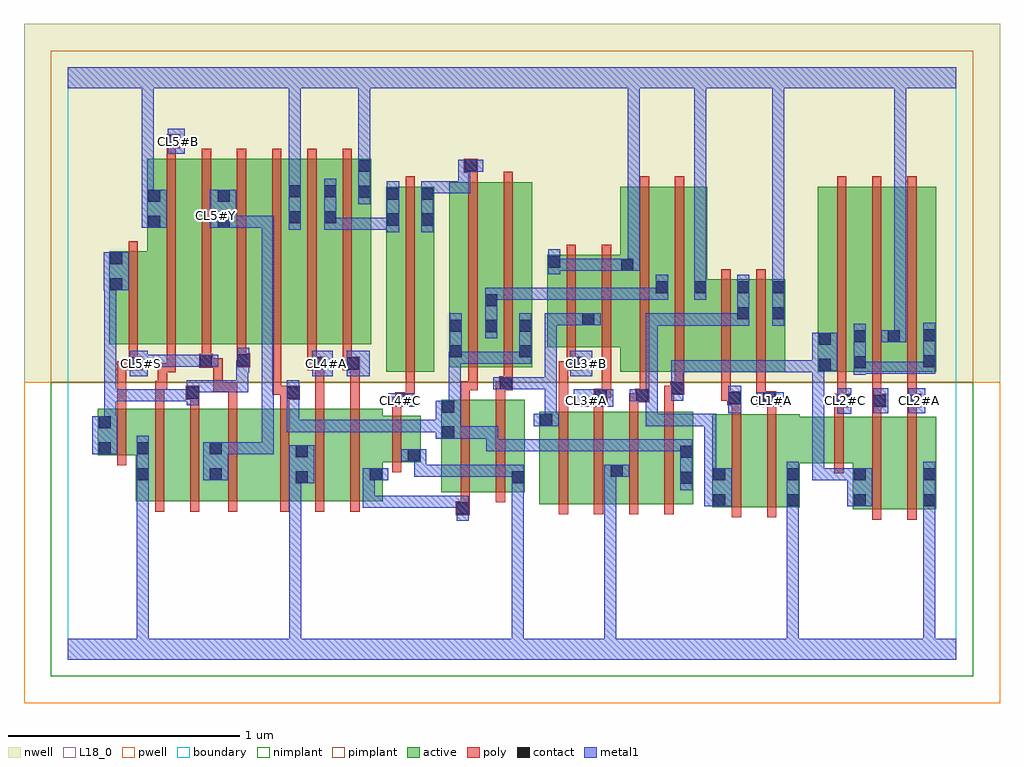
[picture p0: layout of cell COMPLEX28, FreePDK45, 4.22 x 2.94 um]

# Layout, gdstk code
import gdstk
lib = gdstk.Library(unit=1e-6, precision=1e-09)
def R(c, l, rs):  # rectangles x0, y0, x1, y1
    for r in rs: c.add(gdstk.rectangle(r[:2], r[2:], *l))
def A(c, l, x, y, w, h, nx, ny, dx, dy):  # array of equal rectangles
    R(c, l, [(x+i*dx, y+j*dy, x+i*dx+w, y+j*dy+h) for i in range(nx) for j in range(ny)])
active = (1, 0)
pwell = (2, 0)
nwell = (3, 0)
nimplant = (4, 0)
pimplant = (5, 0)
poly = (9, 0)
contact = (10, 0)
metal1 = (11, 0)
L18_0 = (18, 0)
boundary = (235, 0)

complex28 = lib.new_cell('COMPLEX28')
R(complex28, active, [(3.392,0.65,3.572,1.05), (3.392,0.65,3.452,0.982), (3.572,0.65,3.752,1.05), (3.692,0.65,3.752,1.05), (2.786,0.66,2.846,1.06), (2.786,0.66,2.966,1.06), (2.966,0.66,3.162,1.06), (3.102,0.66,3.162,0.872), (2.038,0.672,2.098,1.072), (2.038,0.672,2.218,1.072), (2.218,0.672,2.402,1.072), (2.342,0.672,2.522,1.072), (2.522,0.672,2.702,1.072), (2.642,0.672,2.702,1.072), (0.294,0.684,0.474,1.084), (0.474,0.684,0.67,1.084), (0.61,0.684,0.79,1.084), (0.61,0.684,0.67,1.026), (0.79,0.684,1.042,1.084), (0.982,0.684,1.166,1.084), (1.166,0.684,1.362,1.084), (1.302,0.684,1.362,0.854), (0.982,0.69,1.042,0.93), (1.614,0.724,1.674,1.124), (1.614,0.724,1.794,1.124), (1.794,0.724,1.974,1.124), (0.294,0.73,0.354,0.948), (1.914,0.756,1.974,0.818), (2.342,0.756,2.402,0.846), (3.102,0.85,3.452,1.05), (1.302,0.854,1.526,1.054), (1.466,0.854,1.526,1.054), (0.13,0.884,0.19,1.084), (0.13,0.884,0.354,1.084), (1.376,1.244,1.436,2.044), (1.376,1.244,1.584,2.044), (1.524,1.244,1.584,2.044), (2.388,1.244,2.598,2.044), (2.538,1.244,2.598,2.044), (2.538,1.244,2.764,2.044), (2.704,1.244,2.948,1.644), (2.704,1.244,2.764,1.918), (2.888,1.244,3.1,1.644), (3.04,1.244,3.1,1.644), (3.24,1.244,3.3,2.044), (3.24,1.244,3.452,2.044), (3.392,1.244,3.452,2.044), (3.392,1.244,3.6,2.044), (3.54,1.244,3.6,2.044), (3.54,1.244,3.752,2.044), (3.692,1.244,3.752,2.044), (1.648,1.264,1.86,2.064), (1.648,1.264,1.708,2.044), (1.8,1.264,2.008,2.064), (1.948,1.264,2.008,2.044), (2.072,1.35,2.28,1.75), (2.22,1.35,2.448,1.75), (2.22,1.35,2.28,1.644), (2.388,1.35,2.448,2.044), (0.18,1.364,0.24,1.764), (0.18,1.364,0.404,1.764), (0.344,1.364,0.524,2.164), (0.524,1.364,0.704,2.164), (0.644,1.364,0.828,2.164), (0.828,1.364,1.012,2.164), (0.952,1.364,1.012,2.164), (0.952,1.364,1.164,2.164), (1.104,1.364,1.164,2.164), (1.104,1.364,1.312,2.164), (1.252,1.364,1.312,2.164), (2.888,1.37,2.948,1.644), (0.344,1.382,0.404,2.034), (1.8,1.4,1.86,2.064), (0.644,1.686,0.704,2.044), (2.072,1.69,2.132,1.75)])
R(complex28, pwell, [(-0.188,-0.188,4.028,1.2)])
R(complex28, nwell, [(-0.188,1.2,4.028,2.748)])
R(complex28, nimplant, [(-0.072,-0.072,3.912,1.2)])
R(complex28, pimplant, [(-0.072,1.2,3.912,2.632)])
A(complex28, poly, 2.122, 0.628, 0.04, 0.488, 4, 1, 0.152, 0)
A(complex28, poly, 0.918, 0.64, 0.04, 0.488, 3, 1, 0.152, 0)
A(complex28, poly, 3.324, 1.11, 0.04, 0.13, 3, 1, 0.152, 0)
A(complex28, poly, 3.324, 1.2, 0.04, 0.888, 3, 1, 0.152, 0)
A(complex28, poly, 0.428, 1.32, 0.04, 0.888, 6, 1, 0.152, 0)
R(complex28, poly, [(3.476,0.606,3.516,1.094), (3.628,0.606,3.668,1.094), (2.87,0.616,2.91,1.104), (3.022,0.616,3.062,1.104), (1.678,0.624,1.738,0.684), (0.378,0.64,0.418,1.128), (0.53,0.64,0.57,1.128), (0.694,0.64,0.734,1.128), (1.698,0.644,1.738,0.72), (1.698,0.68,1.738,1.168), (1.85,0.68,1.89,1.168), (3.312,0.806,3.352,1.094), (1.402,0.81,1.442,1.098), (0.214,0.84,0.254,1.128), (3.312,1.054,3.352,1.13), (3.476,1.054,3.516,1.13), (3.628,1.054,3.668,1.13), (1.402,1.058,1.442,1.136), (2.87,1.064,2.91,1.14), (3.022,1.064,3.062,1.14), (2.122,1.076,2.162,1.29), (2.274,1.076,2.314,1.152), (2.426,1.076,2.466,1.152), (2.578,1.076,2.618,1.184), (0.214,1.088,0.254,1.29), (0.378,1.088,0.418,1.206), (0.53,1.088,0.57,1.164), (0.694,1.088,0.734,1.198), (0.918,1.088,0.958,1.164), (1.07,1.088,1.11,1.29), (1.222,1.088,1.262,1.29), (3.312,1.09,3.382,1.15), (3.476,1.09,3.536,1.15), (3.628,1.09,3.688,1.15), (1.402,1.096,1.456,1.136), (1.416,1.096,1.456,1.136), (1.416,1.096,1.5,1.156), (2.85,1.1,2.91,1.16), (3.002,1.1,3.062,1.16), (3.324,1.11,3.364,1.15), (3.324,1.11,3.364,1.15), (3.476,1.11,3.516,1.15), (3.476,1.11,3.516,1.15), (3.628,1.11,3.668,1.15), (3.628,1.11,3.668,1.15), (2.274,1.112,2.334,1.172), (2.426,1.112,2.492,1.152), (2.452,1.112,2.492,1.152), (2.452,1.112,2.512,1.172), (1.46,1.116,1.5,1.24), (2.824,1.12,2.864,1.24), (2.824,1.12,2.89,1.16), (2.85,1.12,2.89,1.16), (2.976,1.12,3.016,1.24), (2.976,1.12,3.042,1.16), (3.002,1.12,3.042,1.16), (0.51,1.124,0.57,1.184), (0.918,1.124,1.004,1.184), (1.698,1.128,1.738,1.204), (1.85,1.128,1.89,1.204), (2.294,1.132,2.334,1.172), (2.294,1.132,2.348,1.172), (2.308,1.132,2.348,1.346), (2.472,1.132,2.512,1.24), (0.884,1.144,0.958,1.184), (0.884,1.144,0.924,1.36), (0.918,1.144,0.958,1.184), (2.578,1.144,2.644,1.184), (2.604,1.144,2.644,1.184), (2.604,1.144,2.664,1.204), (0.63,1.158,0.67,1.198), (0.63,1.158,0.734,1.198), (0.63,1.158,0.67,1.302), (0.694,1.158,0.734,1.198), (1.698,1.164,1.738,1.204), (1.698,1.164,1.738,1.204), (1.698,1.164,1.772,1.204), (1.732,1.164,1.772,1.26), (1.85,1.164,1.904,1.204), (1.864,1.164,1.904,1.204), (1.864,1.164,1.924,1.224), (2.624,1.164,2.664,1.24), (0.378,1.166,0.43,1.206), (0.39,1.166,0.43,1.282), (1.884,1.184,1.924,1.26), (1.46,1.2,1.5,2.088), (2.472,1.2,2.512,2.088), (2.624,1.2,2.664,2.088), (2.824,1.2,2.864,1.688), (2.976,1.2,3.016,1.688), (1.732,1.22,1.772,2.108), (1.884,1.22,1.924,2.108), (0.39,1.242,0.468,1.282), (0.428,1.242,0.468,1.36), (0.214,1.25,0.304,1.29), (0.264,1.25,0.304,1.29), (0.264,1.25,0.324,1.31), (1.036,1.25,1.114,1.31), (1.07,1.25,1.11,1.29), (1.07,1.25,1.11,1.29), (1.188,1.25,1.262,1.31), (1.222,1.25,1.262,1.29), (1.222,1.25,1.262,1.29), (2.122,1.25,2.196,1.29), (2.156,1.25,2.196,1.29), (2.156,1.25,2.228,1.31), (0.568,1.262,0.628,1.322), (0.588,1.262,0.67,1.302), (0.63,1.262,0.67,1.302), (0.73,1.264,0.79,1.324), (0.264,1.27,0.304,1.36), (1.036,1.27,1.076,1.36), (1.188,1.27,1.228,1.36), (2.156,1.27,2.196,1.346), (0.58,1.282,0.62,1.36), (0.732,1.284,0.772,1.36), (2.156,1.306,2.196,1.794), (2.308,1.306,2.348,1.794), (0.264,1.32,0.304,1.808), (1.732,2.068,1.772,2.144), (1.712,2.104,1.772,2.164), (0.428,2.168,0.468,2.25), (0.428,2.21,0.488,2.27)])
R(complex28, contact, [(1.682,0.628,1.734,0.68), (2.79,0.664,2.842,0.716), (3.106,0.664,3.158,0.716), (3.396,0.664,3.448,0.716), (3.696,0.664,3.748,0.716), (2.646,0.76,2.698,0.812), (0.986,0.762,1.038,0.814), (1.918,0.762,1.97,0.814), (0.298,0.776,0.35,0.828), (0.614,0.776,0.666,0.828), (1.306,0.776,1.358,0.828), (2.79,0.776,2.842,0.828), (3.106,0.776,3.158,0.828), (3.396,0.776,3.448,0.828), (3.696,0.776,3.748,0.828), (2.346,0.79,2.398,0.842), (1.47,0.858,1.522,0.91), (2.646,0.872,2.698,0.924), (0.986,0.874,1.038,0.926), (0.134,0.888,0.186,0.94), (0.298,0.888,0.35,0.94), (0.614,0.888,0.666,0.94), (1.618,0.956,1.67,1.008), (0.134,1,0.186,1.052), (2.042,1.01,2.094,1.062), (1.618,1.068,1.67,1.12), (3.326,1.094,3.378,1.146), (3.48,1.094,3.532,1.146), (3.632,1.094,3.684,1.146), (1.42,1.1,1.472,1.152), (2.854,1.104,2.906,1.156), (3.006,1.104,3.058,1.156), (2.278,1.116,2.33,1.168), (2.456,1.116,2.508,1.168), (0.514,1.128,0.566,1.18), (0.948,1.128,1,1.18), (2.608,1.148,2.66,1.2), (1.868,1.168,1.92,1.22), (3.244,1.248,3.296,1.3), (0.268,1.254,0.32,1.306), (1.058,1.254,1.11,1.306), (1.206,1.254,1.258,1.306), (2.172,1.254,2.224,1.306), (3.396,1.26,3.448,1.312), (3.696,1.264,3.748,1.316), (0.572,1.266,0.624,1.318), (0.734,1.268,0.786,1.32), (1.652,1.306,1.704,1.358), (1.952,1.306,2.004,1.358), (3.244,1.36,3.296,1.412), (3.396,1.372,3.448,1.424), (3.544,1.372,3.596,1.424), (3.696,1.376,3.748,1.428), (1.804,1.416,1.856,1.468), (1.652,1.418,1.704,1.47), (1.952,1.418,2.004,1.47), (2.224,1.446,2.276,1.498), (2.892,1.472,2.944,1.524), (3.044,1.472,3.096,1.524), (1.804,1.528,1.856,1.58), (2.542,1.584,2.594,1.636), (2.708,1.584,2.76,1.636), (2.892,1.584,2.944,1.636), (3.044,1.584,3.096,1.636), (0.184,1.596,0.236,1.648), (2.392,1.68,2.444,1.732), (2.076,1.694,2.128,1.746), (0.184,1.708,0.236,1.76), (0.348,1.866,0.4,1.918), (0.648,1.866,0.7,1.918), (1.38,1.876,1.432,1.928), (1.528,1.876,1.58,1.928), (0.956,1.886,1.008,1.938), (1.108,1.886,1.16,1.938), (0.348,1.978,0.4,2.03), (0.648,1.978,0.7,2.03), (1.38,1.988,1.432,2.04), (1.528,1.988,1.58,2.04), (1.256,1.996,1.308,2.048), (0.956,1.998,1.008,2.05), (1.108,1.998,1.16,2.05), (1.256,2.108,1.308,2.16), (1.716,2.108,1.768,2.16), (0.432,2.214,0.484,2.266)])
A(complex28, metal1, 1.218, 0.984, 0.052, 0.052, 3, 1, 0.11, 0)
R(complex28, metal1, [(0,0,3.84,0.092), (0.298,0.04,0.35,0.092), (0.298,0.04,0.35,0.092), (0.298,0.04,0.35,0.092), (0.298,0.04,0.35,0.092), (0.298,0.04,0.35,0.092), (0.298,0.04,0.35,0.092), (0.298,0.04,0.35,0.092), (0.298,0.04,0.35,0.092), (0.298,0.04,0.35,0.8), (0.958,0.04,1.01,0.092), (0.958,0.04,1.01,0.092), (0.958,0.04,1.01,0.092), (0.958,0.04,1.01,0.092), (0.958,0.04,1.01,0.092), (0.958,0.04,1.01,0.092), (0.958,0.04,1.01,0.092), (0.958,0.04,1.01,0.092), (0.958,0.04,1.01,0.092), (0.958,0.04,1.01,0.092), (0.958,0.04,1.01,0.092), (0.958,0.04,1.01,0.092), (0.958,0.04,1.01,0.814), (1.918,0.04,1.97,0.092), (1.918,0.04,1.97,0.092), (1.918,0.04,1.97,0.786), (2.318,0.04,2.37,0.092), (2.318,0.04,2.37,0.092), (2.318,0.04,2.37,0.092), (2.318,0.04,2.37,0.092), (2.318,0.04,2.37,0.092), (2.318,0.04,2.37,0.092), (2.318,0.04,2.37,0.092), (2.318,0.04,2.37,0.092), (2.318,0.04,2.37,0.092), (2.318,0.04,2.37,0.092), (2.318,0.04,2.37,0.092), (2.318,0.04,2.37,0.092), (2.318,0.04,2.37,0.842), (3.106,0.04,3.158,0.092), (3.106,0.04,3.158,0.092), (3.106,0.04,3.158,0.092), (3.106,0.04,3.158,0.092), (3.106,0.04,3.158,0.092), (3.106,0.04,3.158,0.092), (3.106,0.04,3.158,0.688), (3.696,0.04,3.748,0.688), (1.682,0.6,1.734,0.708), (3.106,0.636,3.158,0.688), (3.106,0.636,3.158,0.688), (3.106,0.636,3.158,0.688), (3.106,0.636,3.158,0.688), (3.106,0.636,3.158,0.688), (3.106,0.636,3.158,0.688), (3.106,0.636,3.158,0.856), (3.696,0.636,3.748,0.688), (3.696,0.636,3.748,0.688), (3.696,0.636,3.748,0.688), (3.696,0.636,3.748,0.688), (3.696,0.636,3.748,0.688), (3.696,0.636,3.748,0.688), (3.696,0.636,3.748,0.688), (3.696,0.636,3.748,0.688), (3.696,0.636,3.748,0.688), (3.696,0.636,3.748,0.688), (3.696,0.636,3.748,0.688), (3.696,0.636,3.748,0.688), (3.696,0.636,3.748,0.856), (1.276,0.656,1.328,0.708), (1.276,0.656,1.38,0.708), (1.276,0.656,1.328,0.828), (1.328,0.656,1.38,0.708), (1.328,0.656,1.49,0.708), (1.438,0.656,1.49,0.708), (1.438,0.656,1.49,0.708), (1.438,0.656,1.49,0.708), (1.438,0.656,1.734,0.708), (1.682,0.656,1.734,0.708), (1.682,0.656,1.734,0.708), (2.75,0.664,2.87,0.828), (3.368,0.664,3.476,0.828), (2.646,0.732,2.698,0.952), (1.918,0.734,1.97,0.786), (1.918,0.734,1.97,0.786), (1.918,0.734,1.97,0.786), (1.918,0.734,1.97,0.786), (1.918,0.734,1.97,0.786), (1.918,0.734,1.97,0.786), (1.918,0.734,1.97,0.786), (1.918,0.734,1.97,0.786), (1.918,0.734,1.97,0.786), (1.918,0.734,1.97,0.786), (1.918,0.734,1.97,0.842), (0.298,0.748,0.35,0.8), (0.298,0.748,0.35,0.8), (0.298,0.748,0.35,0.8), (0.298,0.748,0.35,0.8), (0.298,0.748,0.35,0.968), (0.958,0.762,1.066,0.926), (0.586,0.776,0.694,0.94), (1.276,0.776,1.386,0.828), (2.75,0.776,2.802,1.062), (3.216,0.776,3.268,0.828), (3.216,0.776,3.268,0.828), (3.216,0.776,3.268,0.828), (3.216,0.776,3.42,0.828), (3.216,0.776,3.268,1.294), (3.368,0.776,3.42,0.828), (3.368,0.776,3.42,0.828), (1.498,0.79,1.55,0.842), (1.498,0.79,1.55,0.842), (1.498,0.79,1.55,0.842), (1.498,0.79,1.69,0.842), (1.498,0.79,1.55,0.91), (1.638,0.79,1.69,0.842), (1.638,0.79,1.69,0.842), (1.638,0.79,1.69,0.842), (1.638,0.79,1.86,0.842), (1.808,0.79,1.86,0.842), (1.808,0.79,1.86,0.842), (1.808,0.79,1.86,0.842), (1.808,0.79,1.97,0.842), (2.318,0.79,2.426,0.842), (1.442,0.858,1.55,0.91), (0.106,0.888,0.214,1.052), (0.642,0.888,0.89,0.94), (0.838,0.888,0.89,0.94), (0.838,0.888,0.89,0.94), (0.838,0.888,0.89,0.94), (0.838,0.888,0.89,0.94), (0.838,0.888,0.89,0.94), (0.838,0.888,0.89,1.918), (1.808,0.9,1.86,0.952), (1.808,0.9,1.86,0.952), (1.808,0.9,1.86,0.952), (1.808,0.9,1.86,1.008), (1.808,0.9,2.004,0.952), (1.952,0.9,2.004,0.952), (1.952,0.9,2.114,0.952), (2.062,0.9,2.114,0.952), (2.062,0.9,2.114,0.952), (2.062,0.9,2.114,0.952), (2.062,0.9,2.238,0.952), (2.186,0.9,2.238,0.952), (2.186,0.9,2.238,0.952), (2.186,0.9,2.238,0.952), (2.186,0.9,2.238,0.952), (2.186,0.9,2.238,0.952), (2.186,0.9,2.44,0.952), (2.388,0.9,2.44,0.952), (2.388,0.9,2.44,0.952), (2.388,0.9,2.44,0.952), (2.388,0.9,2.55,0.952), (2.498,0.9,2.55,0.952), (2.498,0.9,2.646,0.952), (2.594,0.9,2.646,0.952), (2.594,0.9,2.698,0.952), (1.59,0.956,1.698,1.12), (1.646,0.956,1.698,1.008), (1.646,0.956,1.698,1.008), (1.646,0.956,1.86,1.008), (1.808,0.956,1.86,1.008), (0.948,0.984,1,1.036), (0.948,0.984,1.11,1.036), (0.948,0.984,1,1.152), (1.058,0.984,1.11,1.036), (1.058,0.984,1.11,1.036), (1.058,0.984,1.11,1.036), (1.058,0.984,1.27,1.036), (1.218,0.984,1.27,1.036), (1.218,0.984,1.27,1.036), (1.218,0.984,1.38,1.036), (1.328,0.984,1.49,1.036), (1.438,0.984,1.49,1.036), (1.438,0.984,1.49,1.036), (1.438,0.984,1.642,1.036), (0.158,1,0.21,1.168), (2.014,1.01,2.122,1.062), (2.062,1.01,2.114,1.062), (2.062,1.01,2.114,1.062), (2.062,1.01,2.114,1.22), (2.498,1.01,2.55,1.062), (2.498,1.01,2.692,1.062), (2.498,1.01,2.55,1.168), (2.64,1.01,2.692,1.062), (2.64,1.01,2.692,1.062), (2.64,1.01,2.692,1.062), (2.64,1.01,2.802,1.062), (2.75,1.01,2.802,1.062), (3.326,1.062,3.386,1.174), (2.854,1.066,2.91,1.184), (3.48,1.066,3.546,1.174), (3.632,1.066,3.706,1.174), (1.646,1.068,1.698,1.33), (1.386,1.094,1.5,1.152), (2.186,1.094,2.358,1.168), (2.978,1.094,3.094,1.156), (0.514,1.1,0.566,1.208), (0.948,1.1,1,1.152), (0.948,1.1,1,1.152), (0.948,1.1,1,1.208), (0.158,1.116,0.21,1.168), (0.158,1.116,0.21,1.168), (0.158,1.116,0.21,1.168), (0.158,1.116,0.21,1.168), (0.158,1.116,0.21,1.168), (0.158,1.116,0.374,1.168), (0.158,1.116,0.21,1.648), (0.322,1.116,0.374,1.168), (0.322,1.116,0.456,1.168), (0.404,1.116,0.456,1.168), (0.404,1.116,0.528,1.168), (0.476,1.116,0.528,1.168), (0.476,1.116,0.566,1.168), (2.428,1.116,2.536,1.168), (2.484,1.116,2.55,1.168), (2.498,1.116,2.55,1.168), (2.498,1.116,2.55,1.496), (2.608,1.12,2.66,1.228), (0.514,1.156,0.78,1.208), (0.728,1.156,0.78,1.208), (0.728,1.156,0.78,1.292), (1.84,1.168,1.948,1.22), (1.896,1.168,2.004,1.22), (1.952,1.168,2.004,1.22), (1.952,1.168,2.114,1.22), (2.062,1.168,2.114,1.22), (2.062,1.168,2.114,1.498), (2.608,1.176,2.66,1.228), (2.608,1.176,2.66,1.294), (0.268,1.226,0.346,1.334), (1.058,1.226,1.146,1.334), (1.206,1.226,1.306,1.334), (2.172,1.226,2.266,1.334), (3.396,1.232,3.448,1.452), (3.396,1.236,3.574,1.288), (3.522,1.236,3.574,1.288), (3.522,1.236,3.574,1.288), (3.522,1.236,3.574,1.288), (3.522,1.236,3.748,1.288), (3.696,1.236,3.748,1.288), (3.696,1.236,3.748,1.288), (3.696,1.236,3.748,1.456), (0.728,1.24,0.78,1.292), (0.728,1.24,0.786,1.292), (0.734,1.24,0.786,1.348), (2.608,1.242,2.808,1.294), (2.756,1.242,2.808,1.294), (2.756,1.242,2.808,1.294), (2.756,1.242,2.808,1.294), (2.756,1.242,2.978,1.294), (2.926,1.242,2.978,1.294), (2.926,1.242,2.978,1.294), (2.926,1.242,2.978,1.294), (2.926,1.242,3.268,1.294), (3.216,1.242,3.268,1.294), (3.216,1.242,3.268,1.294), (3.216,1.242,3.268,1.294), (3.216,1.242,3.268,1.3), (3.216,1.248,3.324,1.412), (0.294,1.266,0.346,1.318), (0.294,1.266,0.346,1.318), (0.294,1.266,0.456,1.318), (0.404,1.266,0.456,1.318), (0.404,1.266,0.528,1.318), (0.476,1.266,0.528,1.318), (0.476,1.266,0.596,1.318), (0.544,1.266,0.652,1.318), (1.646,1.278,1.698,1.33), (1.646,1.278,1.698,1.33), (1.646,1.278,1.704,1.33), (1.652,1.278,1.704,1.33), (1.652,1.278,1.704,1.33), (1.652,1.278,1.704,1.33), (1.652,1.278,1.704,1.498), (1.652,1.278,1.86,1.33), (1.808,1.278,1.86,1.33), (1.808,1.278,1.86,1.33), (1.808,1.278,1.86,1.33), (1.808,1.278,2.004,1.33), (1.952,1.278,2.004,1.498), (3.516,1.372,3.624,1.424), (3.572,1.372,3.624,1.424), (3.572,1.372,3.624,1.424), (3.572,1.372,3.624,2.52), (1.804,1.388,1.856,1.608), (2.498,1.444,2.55,1.496), (2.498,1.444,2.66,1.496), (2.608,1.444,2.66,1.496), (2.608,1.444,2.66,1.496), (2.608,1.444,2.66,1.496), (2.608,1.444,2.834,1.496), (2.782,1.444,2.834,1.496), (2.782,1.444,2.834,1.496), (2.782,1.444,2.834,1.496), (2.782,1.444,2.944,1.496), (2.892,1.444,2.944,1.664), (3.044,1.444,3.096,1.664), (2.062,1.446,2.114,1.498), (2.062,1.446,2.114,1.498), (2.062,1.446,2.114,1.498), (2.062,1.446,2.248,1.498), (2.196,1.446,2.304,1.498), (1.804,1.556,1.856,1.608), (1.804,1.556,1.856,1.608), (1.804,1.556,2.004,1.608), (1.952,1.556,2.004,1.608), (1.952,1.556,2.128,1.608), (2.076,1.556,2.128,1.608), (2.076,1.556,2.128,1.608), (2.076,1.556,2.128,1.608), (2.076,1.556,2.26,1.608), (2.208,1.556,2.26,1.608), (2.208,1.556,2.26,1.608), (2.208,1.556,2.26,1.608), (2.208,1.556,2.44,1.608), (2.388,1.556,2.44,1.608), (2.388,1.556,2.44,1.608), (2.388,1.556,2.44,1.608), (2.388,1.556,2.594,1.608), (2.542,1.556,2.594,1.664), (2.708,1.556,2.76,1.664), (0.156,1.596,0.264,1.76), (2.708,1.612,2.76,1.664), (2.708,1.612,2.76,1.664), (2.708,1.612,2.76,1.664), (2.708,1.612,2.76,1.664), (2.708,1.612,2.76,2.52), (3.044,1.612,3.096,1.664), (3.044,1.612,3.096,1.664), (3.044,1.612,3.096,1.664), (3.044,1.612,3.096,1.664), (3.044,1.612,3.096,1.664), (3.044,1.612,3.096,1.664), (3.044,1.612,3.096,1.664), (3.044,1.612,3.096,1.664), (3.044,1.612,3.096,1.664), (3.044,1.612,3.096,1.664), (3.044,1.612,3.096,1.664), (3.044,1.612,3.096,1.664), (3.044,1.612,3.096,1.664), (3.044,1.612,3.096,1.664), (3.044,1.612,3.096,2.52), (2.076,1.666,2.128,1.774), (2.076,1.68,2.128,1.732), (2.076,1.68,2.128,1.732), (2.076,1.68,2.26,1.732), (2.208,1.68,2.26,1.732), (2.208,1.68,2.26,1.732), (2.208,1.68,2.26,1.732), (2.208,1.68,2.26,1.732), (2.208,1.68,2.26,1.732), (2.208,1.68,2.26,1.732), (2.208,1.68,2.26,1.732), (2.208,1.68,2.26,1.732), (2.208,1.68,2.26,1.732), (2.208,1.68,2.26,1.732), (2.208,1.68,2.26,1.732), (2.208,1.68,2.416,1.732), (2.364,1.68,2.472,1.732), (2.42,1.68,2.472,1.732), (2.42,1.68,2.472,1.732), (2.42,1.68,2.472,1.732), (2.42,1.68,2.472,1.732), (2.42,1.68,2.472,1.732), (2.42,1.68,2.472,1.732), (2.42,1.68,2.472,2.52), (1.38,1.848,1.432,2.068), (1.528,1.848,1.58,2.068), (0.956,1.858,1.008,2.078), (1.108,1.858,1.16,2.078), (1.108,1.858,1.256,1.91), (1.204,1.858,1.256,1.91), (1.204,1.858,1.27,1.91), (1.218,1.858,1.27,1.91), (1.218,1.858,1.432,1.91), (0.32,1.866,0.428,2.03), (0.614,1.866,0.728,2.03), (0.676,1.866,0.728,1.918), (0.676,1.866,0.728,1.918), (0.676,1.866,0.728,1.918), (0.676,1.866,0.728,1.918), (0.676,1.866,0.728,1.918), (0.676,1.866,0.728,1.918), (0.676,1.866,0.728,1.918), (0.676,1.866,0.728,1.918), (0.676,1.866,0.89,1.918), (0.838,1.866,0.89,1.918), (0.838,1.866,0.89,1.918), (0.838,1.866,0.89,1.918), (0.838,1.866,0.89,1.918), (0.838,1.866,0.89,1.918), (1.256,1.968,1.308,2.188), (0.32,1.978,0.372,2.03), (0.32,1.978,0.372,2.03), (0.32,1.978,0.372,2.03), (0.32,1.978,0.372,2.03), (0.32,1.978,0.372,2.03), (0.32,1.978,0.372,2.03), (0.32,1.978,0.372,2.52), (1.528,2.016,1.74,2.068), (1.688,2.016,1.74,2.068), (1.688,2.016,1.74,2.16), (0.956,2.026,1.008,2.078), (0.956,2.026,1.008,2.078), (0.956,2.026,1.008,2.078), (0.956,2.026,1.008,2.078), (0.956,2.026,1.008,2.52), (1.688,2.108,1.74,2.16), (1.688,2.108,1.74,2.16), (1.688,2.108,1.796,2.16), (1.256,2.136,1.308,2.52), (0.432,2.186,0.506,2.294), (0,2.468,3.84,2.56), (0.32,2.468,0.372,2.52), (0.32,2.468,0.372,2.52), (0.956,2.468,1.008,2.52), (0.956,2.468,1.008,2.52), (0.956,2.468,1.008,2.52), (0.956,2.468,1.008,2.52), (1.256,2.468,1.308,2.52), (1.256,2.468,1.308,2.52), (1.256,2.468,1.308,2.52), (1.256,2.468,1.308,2.52), (1.256,2.468,1.308,2.52), (1.256,2.468,1.308,2.52), (1.256,2.468,1.308,2.52), (1.256,2.468,1.308,2.52), (2.42,2.468,2.472,2.52), (2.42,2.468,2.472,2.52), (2.708,2.468,2.76,2.52), (2.708,2.468,2.76,2.52), (2.708,2.468,2.76,2.52), (2.708,2.468,2.76,2.52), (3.044,2.468,3.096,2.52), (3.044,2.468,3.096,2.52), (3.572,2.468,3.624,2.52), (3.572,2.468,3.624,2.52), (3.572,2.468,3.624,2.52), (3.572,2.468,3.624,2.52), (3.572,2.468,3.624,2.52), (3.572,2.468,3.624,2.52)])
A(complex28, L18_0, 3.334, 1.094, 0.052, 0.052, 3, 1, 0.16, 0)
R(complex28, L18_0, [(0,0,3.84,0.092), (0.298,0.04,0.35,0.092), (0.298,0.04,0.35,0.092), (0.298,0.04,0.35,0.092), (0.298,0.04,0.35,0.092), (0.298,0.04,0.35,0.092), (0.298,0.04,0.35,0.092), (0.298,0.04,0.35,0.092), (0.298,0.04,0.35,0.092), (0.298,0.04,0.35,0.8), (0.958,0.04,1.01,0.092), (0.958,0.04,1.01,0.092), (0.958,0.04,1.01,0.092), (0.958,0.04,1.01,0.092), (0.958,0.04,1.01,0.092), (0.958,0.04,1.01,0.092), (0.958,0.04,1.01,0.092), (0.958,0.04,1.01,0.092), (0.958,0.04,1.01,0.092), (0.958,0.04,1.01,0.092), (0.958,0.04,1.01,0.092), (0.958,0.04,1.01,0.092), (0.958,0.04,1.01,0.814), (1.918,0.04,1.97,0.092), (1.918,0.04,1.97,0.092), (1.918,0.04,1.97,0.786), (2.318,0.04,2.37,0.092), (2.318,0.04,2.37,0.092), (2.318,0.04,2.37,0.092), (2.318,0.04,2.37,0.092), (2.318,0.04,2.37,0.092), (2.318,0.04,2.37,0.092), (2.318,0.04,2.37,0.092), (2.318,0.04,2.37,0.092), (2.318,0.04,2.37,0.092), (2.318,0.04,2.37,0.092), (2.318,0.04,2.37,0.092), (2.318,0.04,2.37,0.092), (2.318,0.04,2.37,0.842), (3.106,0.04,3.158,0.092), (3.106,0.04,3.158,0.092), (3.106,0.04,3.158,0.092), (3.106,0.04,3.158,0.092), (3.106,0.04,3.158,0.092), (3.106,0.04,3.158,0.092), (3.106,0.04,3.158,0.688), (3.696,0.04,3.748,0.688), (3.106,0.636,3.158,0.688), (3.106,0.636,3.158,0.688), (3.106,0.636,3.158,0.688), (3.106,0.636,3.158,0.688), (3.106,0.636,3.158,0.688), (3.106,0.636,3.158,0.688), (3.106,0.636,3.158,0.856), (3.696,0.636,3.748,0.688), (3.696,0.636,3.748,0.688), (3.696,0.636,3.748,0.688), (3.696,0.636,3.748,0.688), (3.696,0.636,3.748,0.688), (3.696,0.636,3.748,0.688), (3.696,0.636,3.748,0.688), (3.696,0.636,3.748,0.688), (3.696,0.636,3.748,0.688), (3.696,0.636,3.748,0.688), (3.696,0.636,3.748,0.688), (3.696,0.636,3.748,0.688), (3.696,0.636,3.748,0.856), (1.918,0.734,1.97,0.786), (1.918,0.734,1.97,0.786), (1.918,0.734,1.97,0.786), (1.918,0.734,1.97,0.786), (1.918,0.734,1.97,0.786), (1.918,0.734,1.97,0.786), (1.918,0.734,1.97,0.786), (1.918,0.734,1.97,0.786), (1.918,0.734,1.97,0.786), (1.918,0.734,1.97,0.786), (1.918,0.734,1.97,0.842), (0.298,0.748,0.35,0.8), (0.298,0.748,0.35,0.8), (0.298,0.748,0.35,0.8), (0.298,0.748,0.35,0.8), (0.298,0.748,0.35,0.968), (0.958,0.762,1.066,0.926), (0.586,0.776,0.694,0.94), (1.498,0.79,1.55,0.842), (1.498,0.79,1.55,0.842), (1.498,0.79,1.55,0.842), (1.498,0.79,1.55,0.91), (1.498,0.79,1.69,0.842), (1.638,0.79,1.69,0.842), (1.638,0.79,1.69,0.842), (1.638,0.79,1.69,0.842), (1.638,0.79,1.86,0.842), (1.808,0.79,1.86,0.842), (1.808,0.79,1.86,0.842), (1.808,0.79,1.86,0.842), (1.808,0.79,1.97,0.842), (2.318,0.79,2.426,0.842), (1.442,0.858,1.55,0.91), (0.642,0.888,0.89,0.94), (0.838,0.888,0.89,0.94), (0.838,0.888,0.89,0.94), (0.838,0.888,0.89,0.94), (0.838,0.888,0.89,0.94), (0.838,0.888,0.89,0.94), (0.838,0.888,0.89,1.918), (3.326,1.062,3.386,1.174), (2.854,1.066,2.91,1.184), (3.48,1.066,3.546,1.174), (3.632,1.066,3.706,1.174), (1.386,1.094,1.5,1.152), (1.414,1.094,1.466,1.146), (2.186,1.094,2.358,1.168), (2.214,1.094,2.266,1.146), (2.854,1.094,2.906,1.146), (2.978,1.094,3.094,1.156), (3.014,1.094,3.066,1.146), (0.268,1.226,0.346,1.334), (1.058,1.226,1.146,1.334), (1.206,1.226,1.306,1.334), (2.172,1.226,2.266,1.334), (0.294,1.254,0.346,1.306), (1.094,1.254,1.146,1.306), (1.254,1.254,1.306,1.306), (2.214,1.254,2.266,1.306), (0.294,1.266,0.346,1.318), (0.294,1.266,0.346,1.318), (0.294,1.266,0.456,1.318), (0.404,1.266,0.456,1.318), (0.404,1.266,0.528,1.318), (0.476,1.266,0.528,1.318), (0.476,1.266,0.596,1.318), (0.544,1.266,0.652,1.318), (3.516,1.372,3.624,1.424), (3.572,1.372,3.624,1.424), (3.572,1.372,3.624,1.424), (3.572,1.372,3.624,2.52), (3.044,1.444,3.096,1.664), (2.708,1.556,2.76,1.664), (2.708,1.612,2.76,1.664), (2.708,1.612,2.76,1.664), (2.708,1.612,2.76,1.664), (2.708,1.612,2.76,1.664), (2.708,1.612,2.76,2.52), (3.044,1.612,3.096,1.664), (3.044,1.612,3.096,1.664), (3.044,1.612,3.096,1.664), (3.044,1.612,3.096,1.664), (3.044,1.612,3.096,1.664), (3.044,1.612,3.096,1.664), (3.044,1.612,3.096,1.664), (3.044,1.612,3.096,1.664), (3.044,1.612,3.096,1.664), (3.044,1.612,3.096,1.664), (3.044,1.612,3.096,1.664), (3.044,1.612,3.096,1.664), (3.044,1.612,3.096,1.664), (3.044,1.612,3.096,1.664), (3.044,1.612,3.096,2.52), (2.076,1.666,2.128,1.774), (2.076,1.68,2.128,1.732), (2.076,1.68,2.128,1.732), (2.076,1.68,2.26,1.732), (2.208,1.68,2.26,1.732), (2.208,1.68,2.26,1.732), (2.208,1.68,2.26,1.732), (2.208,1.68,2.26,1.732), (2.208,1.68,2.26,1.732), (2.208,1.68,2.26,1.732), (2.208,1.68,2.26,1.732), (2.208,1.68,2.26,1.732), (2.208,1.68,2.26,1.732), (2.208,1.68,2.26,1.732), (2.208,1.68,2.26,1.732), (2.208,1.68,2.416,1.732), (2.364,1.68,2.472,1.732), (2.42,1.68,2.472,1.732), (2.42,1.68,2.472,1.732), (2.42,1.68,2.472,1.732), (2.42,1.68,2.472,1.732), (2.42,1.68,2.472,1.732), (2.42,1.68,2.472,1.732), (2.42,1.68,2.472,2.52), (0.956,1.858,1.008,2.078), (0.32,1.866,0.428,2.03), (0.614,1.866,0.728,2.03), (0.676,1.866,0.728,1.918), (0.676,1.866,0.728,1.918), (0.676,1.866,0.728,1.918), (0.676,1.866,0.728,1.918), (0.676,1.866,0.728,1.918), (0.676,1.866,0.728,1.918), (0.676,1.866,0.728,1.918), (0.676,1.866,0.728,1.918), (0.676,1.866,0.89,1.918), (0.838,1.866,0.89,1.918), (0.838,1.866,0.89,1.918), (0.838,1.866,0.89,1.918), (0.838,1.866,0.89,1.918), (0.838,1.866,0.89,1.918), (0.614,1.894,0.666,1.946), (1.256,1.968,1.308,2.188), (0.32,1.978,0.372,2.03), (0.32,1.978,0.372,2.03), (0.32,1.978,0.372,2.03), (0.32,1.978,0.372,2.03), (0.32,1.978,0.372,2.03), (0.32,1.978,0.372,2.03), (0.32,1.978,0.372,2.52), (0.956,2.026,1.008,2.078), (0.956,2.026,1.008,2.078), (0.956,2.026,1.008,2.078), (0.956,2.026,1.008,2.078), (0.956,2.026,1.008,2.52), (1.256,2.136,1.308,2.52), (0.432,2.186,0.506,2.294), (0.454,2.214,0.506,2.266), (0,2.468,3.84,2.56), (0.32,2.468,0.372,2.52), (0.32,2.468,0.372,2.52), (0.956,2.468,1.008,2.52), (0.956,2.468,1.008,2.52), (0.956,2.468,1.008,2.52), (0.956,2.468,1.008,2.52), (1.256,2.468,1.308,2.52), (1.256,2.468,1.308,2.52), (1.256,2.468,1.308,2.52), (1.256,2.468,1.308,2.52), (1.256,2.468,1.308,2.52), (1.256,2.468,1.308,2.52), (1.256,2.468,1.308,2.52), (1.256,2.468,1.308,2.52), (2.42,2.468,2.472,2.52), (2.42,2.468,2.472,2.52), (2.708,2.468,2.76,2.52), (2.708,2.468,2.76,2.52), (2.708,2.468,2.76,2.52), (2.708,2.468,2.76,2.52), (3.044,2.468,3.096,2.52), (3.044,2.468,3.096,2.52), (3.572,2.468,3.624,2.52), (3.572,2.468,3.624,2.52), (3.572,2.468,3.624,2.52), (3.572,2.468,3.624,2.52), (3.572,2.468,3.624,2.52), (3.572,2.468,3.624,2.52)])
R(complex28, boundary, [(0,0,3.84,2.56)])
complex28.add(gdstk.Label('CL1#A', (3.04,1.12), layer=11, texttype=0))
complex28.add(gdstk.Label('CL1#B', (2.88,1.12), layer=11, texttype=0))
complex28.add(gdstk.Label('CL2#A', (3.68,1.12), layer=11, texttype=0))
complex28.add(gdstk.Label('CL2#B', (3.52,1.12), layer=11, texttype=0))
complex28.add(gdstk.Label('CL2#C', (3.36,1.12), layer=11, texttype=0))
complex28.add(gdstk.Label('CL3#A', (2.24,1.12), layer=11, texttype=0))
complex28.add(gdstk.Label('CL3#B', (2.24,1.28), layer=11, texttype=0))
complex28.add(gdstk.Label('CL4#A', (1.12,1.28), layer=11, texttype=0))
complex28.add(gdstk.Label('CL4#B', (1.28,1.28), layer=11, texttype=0))
complex28.add(gdstk.Label('CL4#C', (1.44,1.12), layer=11, texttype=0))
complex28.add(gdstk.Label('CL5#B', (0.48,2.24), layer=11, texttype=0))
complex28.add(gdstk.Label('CL5#S', (0.32,1.28), layer=11, texttype=0))
complex28.add(gdstk.Label('CL5#Y', (0.64,1.92), layer=11, texttype=0))

lib.write_gds('COMPLEX28.gds')
